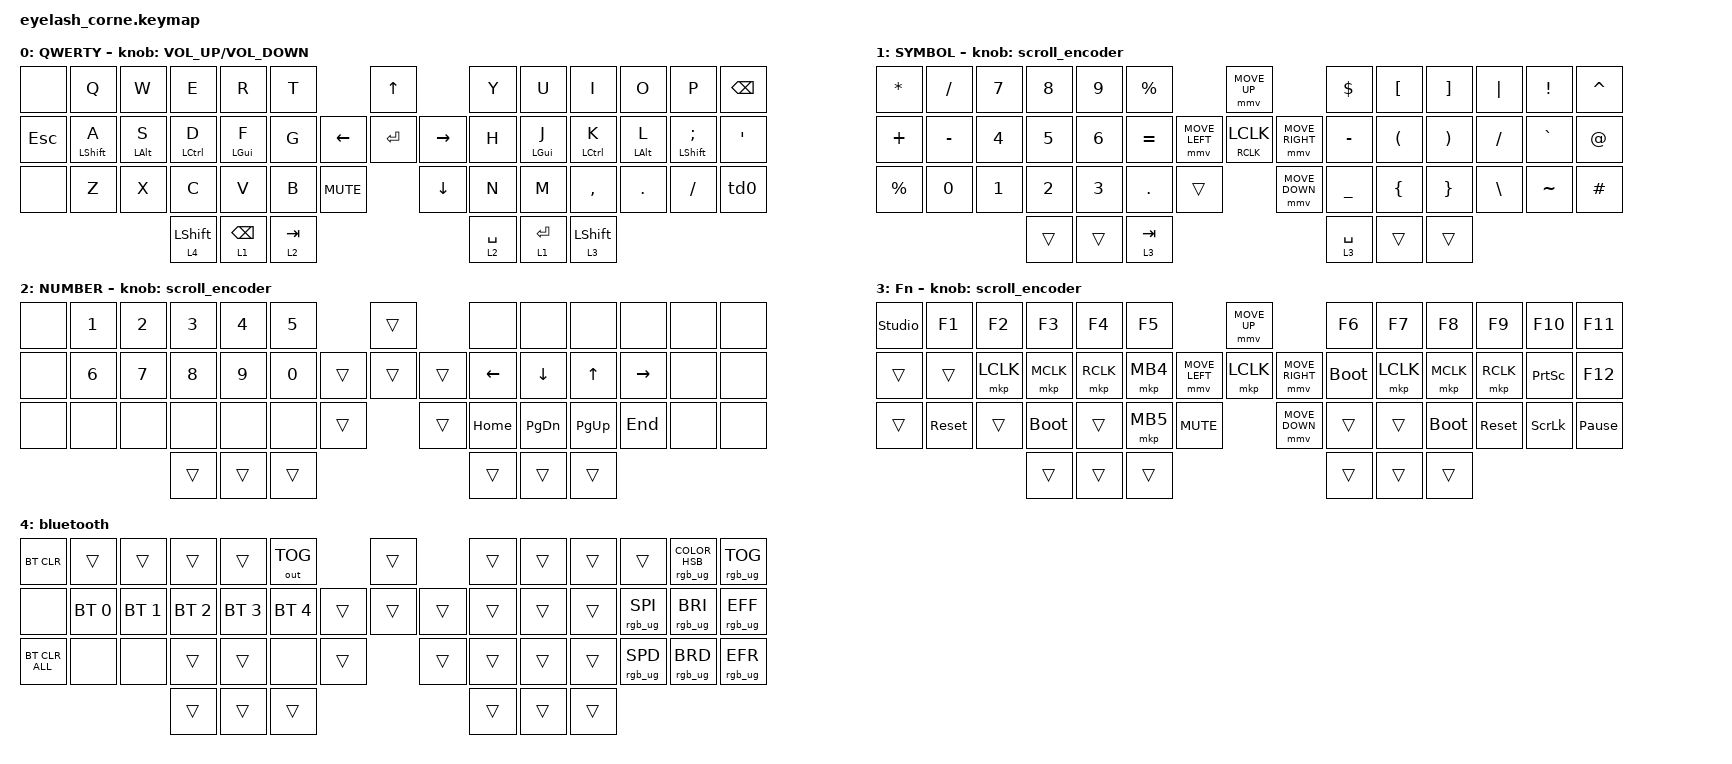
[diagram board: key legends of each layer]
#include <dt-bindings/zmk/mouse.h>
#include <input/processors.dtsi>
#include <behaviors.dtsi>
#include <dt-bindings/zmk/bt.h>
#include <dt-bindings/zmk/keys.h>
#include <dt-bindings/zmk/outputs.h>
#include <dt-bindings/zmk/pointing.h>
#include <dt-bindings/zmk/pointing.h>
#include <dt-bindings/zmk/pointing.h>
#include <dt-bindings/zmk/rgb.h>

/*

   &mmv_input_listener {
       input-processors = <&zip_xy_scaler 2 1>;
   };

   &msc_input_listener {
       input-processors = <&zip_xy_scaler 2 1>;
   };

 */

#define ZMK_MOUSE_DEFAULT_MOVE_VAL 1200  // 600
#define ZMK_MOUSE_DEFAULT_SCRL_VAL 20    // 10

/ {
    behaviors {
        td0: td0 {
            compatible = "zmk,behavior-tap-dance";
            display-name = "Shift/Caps Lock Tap Dance";
            #binding-cells = <0>;
            bindings = <&kp LEFT_SHIFT>, <&kp CAPS>;
        };

        HML: HML {
            compatible = "zmk,behavior-hold-tap";
            label = "HML";
            bindings = <&kp>, <&kp>;

            #binding-cells = <2>;
            tapping-term-ms = <280>;
            quick-tap-ms = <175>;
            flavor = "tap-preferred";
            hold-trigger-on-release;
            hold-trigger-key-positions = <7 8 9 10 11 12 22 23 24 25 26 27 36 37 38 39 40 41 45 46 47>;
        };

        HMR: HMR {
            compatible = "zmk,behavior-hold-tap";
            label = "HMR";
            bindings = <&kp>, <&kp>;

            #binding-cells = <2>;
            tapping-term-ms = <280>;
            quick-tap-ms = <175>;
            flavor = "tap-preferred";
            hold-trigger-key-positions = <0 1 2 3 4 5 13 14 15 16 17 18 28 29 30 31 32 33 42 43 44>;
            hold-trigger-on-release;
        };

        JST: JST {
            compatible = "zmk,behavior-hold-tap";
            label = "JST";
            bindings = <&mkp>, <&mkp>;

            #binding-cells = <2>;
            hold-trigger-key-positions = <20>;
            tapping-term-ms = <280>;
            quick-tap-ms = <175>;
            flavor = "tap-preferred";
        };
    };

    rgb_encoder: rgb_encoder {
        compatible = "zmk,behavior-sensor-rotate";
        #sensor-binding-cells = <0>;
        bindings = <&rgb_ug RGB_BRI>, <&rgb_ug RGB_BRD>;
    };

    scroll_encoder: scroll_encoder {
        compatible = "zmk,behavior-sensor-rotate";
        #sensor-binding-cells = <0>;
        bindings = <&msc SCRL_DOWN>, <&msc SCRL_UP>;

        tap-ms = <30>;
    };

    combos {
        compatible = "zmk,combos";

        esc_jk {
            bindings = <&kp ESCAPE>;
            key-positions = <23 24>;
            layers = <0>;
            timeout-ms = <40>;
            require-prior-idle-ms = <100>;
        };

        esc_fd {
            bindings = <&kp ESCAPE>;
            key-positions = <17 16>;
            layers = <0>;
            timeout-ms = <40>;
            require-prior-idle-ms = <100>;
        };
    };

    keymap {
        compatible = "zmk,keymap";

        default_layer {
            display-name = "QWERTY";
            bindings = <
&none       &kp Q              &kp W            &kp E         &kp R            &kp T                              &kp UP                &kp Y        &kp U        &kp I             &kp O            &kp P                 &kp BACKSPACE
&kp ESCAPE  &HML LEFT_SHIFT A  &HML LEFT_ALT S  &HML LCTRL D  &HML LGUI F      &kp G                    &kp LEFT  &kp ENTER  &kp RIGHT  &kp H        &HMR LGUI J  &HMR LCTRL K      &HMR LEFT_ALT L  &HMR LEFT_SHIFT SEMI  &kp SQT
&none       &kp Z              &kp X            &kp C         &kp V            &kp B      &kp C_MUTE              &kp DOWN              &kp N        &kp M        &kp COMMA         &kp DOT          &kp FSLH              &td0
                                                &lt 4 LSHIFT  &lt 1 BACKSPACE  &lt 2 TAB                                                &lt 2 SPACE  &lt 1 ENTER  &lt 3 LEFT_SHIFT
            >;

            sensor-bindings = <&inc_dec_kp C_VOLUME_UP C_VOLUME_DOWN>;
        };

        lower_layer {
            display-name = "SYMBOL";
            bindings = <
&kp ASTERISK  &kp SLASH  &kp N7  &kp N8  &kp N9  &kp PRCNT                            &mmv MOVE_UP                     &kp DOLLAR   &kp LBKT  &kp RBKT  &kp PIPE  &kp EXCL   &kp CARET
&kp PLUS      &kp MINUS  &kp N4  &kp N5  &kp N6  &kp EQUAL            &mmv MOVE_LEFT  &JST RCLK LCLK  &mmv MOVE_RIGHT  &kp MINUS    &kp LPAR  &kp RPAR  &kp FSLH  &kp GRAVE  &kp AT
&kp PERCENT   &kp N0     &kp N1  &kp N2  &kp N3  &kp DOT    &trans                    &mmv MOVE_DOWN                   &kp UNDER    &kp LBRC  &kp RBRC  &kp BSLH  &kp TILDE  &kp HASH
                                 &trans  &trans  &lt 3 TAB                                                             &lt 3 SPACE  &trans    &trans
            >;

            sensor-bindings = <&scroll_encoder>;
        };

        raise_layer {
            display-name = "NUMBER";
            bindings = <
&none  &kp N1  &kp N2  &kp N3  &kp N4  &kp N5                    &trans          &none     &none          &none         &none            &none  &none
&none  &kp N6  &kp N7  &kp N8  &kp N9  &kp N0            &trans  &trans  &trans  &kp LEFT  &kp DOWN       &kp UP_ARROW  &kp RIGHT_ARROW  &none  &none
&none  &none   &none   &none   &none   &none   &trans            &trans          &kp HOME  &kp PAGE_DOWN  &kp PAGE_UP   &kp END          &none  &none
                       &trans  &trans  &trans                                    &trans    &trans         &trans
            >;

            sensor-bindings = <&scroll_encoder>;
        };

        combined {
            display-name = "Fn";
            bindings = <
&studio_unlock  &kp F1      &kp F2     &kp F3       &kp F4     &kp F5                                  &mmv MOVE_UP                     &kp F6       &kp F7     &kp F8       &kp F9      &kp F10          &kp F11
&trans          &trans      &mkp LCLK  &mkp MCLK    &mkp RCLK  &mkp MB4                &mmv MOVE_LEFT  &mkp LCLK       &mmv MOVE_RIGHT  &bootloader  &mkp LCLK  &mkp MCLK    &mkp RCLK   &kp PRINTSCREEN  &kp F12
&trans          &sys_reset  &trans     &bootloader  &trans     &mkp MB5  &kp C_MUTE                    &mmv MOVE_DOWN                   &trans       &trans     &bootloader  &sys_reset  &kp SCROLLLOCK   &kp PAUSE_BREAK
                                       &trans       &trans     &trans                                                                   &trans       &trans     &trans
            >;

            sensor-bindings = <&scroll_encoder>;
        };

        bluetooth {
            bindings = <
&bt BT_CLR      &trans        &trans        &trans        &trans        &out OUT_TOG                    &trans          &trans  &trans  &trans  &trans           &rgb_ug RGB_COLOR_HSB(272,0,100)  &rgb_ug RGB_TOG
&none           &bt BT_SEL 0  &bt BT_SEL 1  &bt BT_SEL 2  &bt BT_SEL 3  &bt BT_SEL 4            &trans  &trans  &trans  &trans  &trans  &trans  &rgb_ug RGB_SPI  &rgb_ug RGB_BRI                   &rgb_ug RGB_EFF
&bt BT_CLR_ALL  &none         &none         &trans        &trans        &none         &trans            &trans          &trans  &trans  &trans  &rgb_ug RGB_SPD  &rgb_ug RGB_BRD                   &rgb_ug RGB_EFR
                                            &trans        &trans        &trans                                          &trans  &trans  &trans
            >;
        };
    };
};
